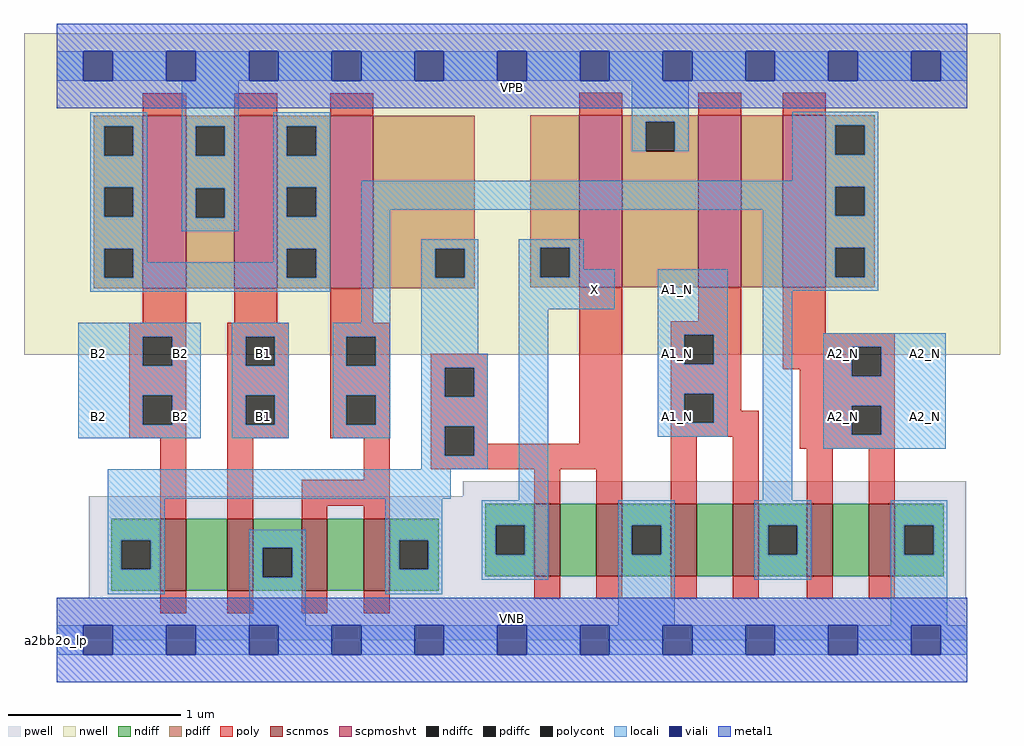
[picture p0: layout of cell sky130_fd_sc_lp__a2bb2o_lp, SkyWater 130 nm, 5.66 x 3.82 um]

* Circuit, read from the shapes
.subckt sky130_fd_sc_lp__a2bb2o_lp A1_N A2_N B1 B2 VGND VNB VPB VPWR X
XM1 n1 B2 n2 VNB sky130_fd_pr__nfet_01v8 w=0.42 l=0.15
XM2 VGND B1 n1 VNB sky130_fd_pr__nfet_01v8 w=0.42 l=0.15
XM3 n3 n4 VGND VNB sky130_fd_pr__nfet_01v8 w=0.42 l=0.15
XM4 n2 n4 n3 VNB sky130_fd_pr__nfet_01v8 w=0.42 l=0.15
XM5 n5 n2 X VNB sky130_fd_pr__nfet_01v8 w=0.42 l=0.15
XM6 VGND n2 n5 VNB sky130_fd_pr__nfet_01v8 w=0.42 l=0.15
XM7 n6 A1_N VGND VNB sky130_fd_pr__nfet_01v8 w=0.42 l=0.15
XM8 n4 A1_N n6 VNB sky130_fd_pr__nfet_01v8 w=0.42 l=0.15
XM9 n7 A2_N n4 VNB sky130_fd_pr__nfet_01v8 w=0.42 l=0.15
XM10 VGND A2_N n7 VNB sky130_fd_pr__nfet_01v8 w=0.42 l=0.15
XM11 VPWR B2 n8 VPB sky130_fd_pr__pfet_01v8_hvt w=1 l=0.25
XM12 n8 B1 VPWR VPB sky130_fd_pr__pfet_01v8_hvt w=1 l=0.25
XM13 n2 n4 n8 VPB sky130_fd_pr__pfet_01v8_hvt w=1 l=0.25
XM14 VPWR n2 X VPB sky130_fd_pr__pfet_01v8_hvt w=1 l=0.25
XM15 n9 A1_N VPWR VPB sky130_fd_pr__pfet_01v8_hvt w=1 l=0.25
XM16 n4 A2_N n9 VPB sky130_fd_pr__pfet_01v8_hvt w=1 l=0.25
.ends

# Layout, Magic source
magic
tech sky130A
magscale 1 2
<< nwell >>
rect -38 331 1094 704
<< pwell >>
rect 471 167 1055 184
rect 37 49 1055 167
rect 0 0 1056 49
<< scnmos >>
rect 120 57 150 141
rect 198 57 228 141
rect 284 57 314 141
rect 356 57 386 141
rect 554 74 584 158
rect 626 74 656 158
rect 712 74 742 158
rect 784 74 814 158
rect 870 74 900 158
rect 942 74 972 158
<< scpmoshvt >>
rect 100 408 150 608
rect 206 408 256 608
rect 317 408 367 608
rect 606 409 656 609
rect 744 409 794 609
rect 842 409 892 609
<< ndiff >>
rect 63 116 120 141
rect 63 82 75 116
rect 109 82 120 116
rect 63 57 120 82
rect 150 57 198 141
rect 228 107 284 141
rect 228 73 239 107
rect 273 73 284 107
rect 228 57 284 73
rect 314 57 356 141
rect 386 116 443 141
rect 386 82 397 116
rect 431 82 443 116
rect 386 57 443 82
rect 497 133 554 158
rect 497 99 509 133
rect 543 99 554 133
rect 497 74 554 99
rect 584 74 626 158
rect 656 133 712 158
rect 656 99 667 133
rect 701 99 712 133
rect 656 74 712 99
rect 742 74 784 158
rect 814 133 870 158
rect 814 99 825 133
rect 859 99 870 133
rect 814 74 870 99
rect 900 74 942 158
rect 972 133 1029 158
rect 972 99 983 133
rect 1017 99 1029 133
rect 972 74 1029 99
<< pdiff >>
rect 43 596 100 608
rect 43 562 55 596
rect 89 562 100 596
rect 43 525 100 562
rect 43 491 55 525
rect 89 491 100 525
rect 43 454 100 491
rect 43 420 55 454
rect 89 420 100 454
rect 43 408 100 420
rect 150 596 206 608
rect 150 562 161 596
rect 195 562 206 596
rect 150 524 206 562
rect 150 490 161 524
rect 195 490 206 524
rect 150 408 206 490
rect 256 596 317 608
rect 256 562 267 596
rect 301 562 317 596
rect 256 525 317 562
rect 256 491 267 525
rect 301 491 317 525
rect 256 454 317 491
rect 256 420 267 454
rect 301 420 317 454
rect 256 408 317 420
rect 367 454 485 608
rect 367 420 439 454
rect 473 420 485 454
rect 367 408 485 420
rect 549 455 606 609
rect 549 421 561 455
rect 595 421 606 455
rect 549 409 606 421
rect 656 601 744 609
rect 656 567 683 601
rect 717 567 744 601
rect 656 409 744 567
rect 794 409 842 609
rect 892 597 949 609
rect 892 563 903 597
rect 937 563 949 597
rect 892 526 949 563
rect 892 492 903 526
rect 937 492 949 526
rect 892 455 949 492
rect 892 421 903 455
rect 937 421 949 455
rect 892 409 949 421
<< ndiffc >>
rect 75 82 109 116
rect 239 73 273 107
rect 397 82 431 116
rect 509 99 543 133
rect 667 99 701 133
rect 825 99 859 133
rect 983 99 1017 133
<< pdiffc >>
rect 55 562 89 596
rect 55 491 89 525
rect 55 420 89 454
rect 161 562 195 596
rect 161 490 195 524
rect 267 562 301 596
rect 267 491 301 525
rect 267 420 301 454
rect 439 420 473 454
rect 561 421 595 455
rect 683 567 717 601
rect 903 563 937 597
rect 903 492 937 526
rect 903 421 937 455
<< poly >>
rect 100 608 150 634
rect 206 608 256 634
rect 317 608 367 634
rect 606 609 656 635
rect 744 609 794 635
rect 842 609 892 635
rect 100 368 150 408
rect 206 368 256 408
rect 317 368 367 408
rect 84 352 150 368
rect 84 318 100 352
rect 134 318 150 352
rect 84 284 150 318
rect 84 250 100 284
rect 134 250 150 284
rect 84 234 150 250
rect 120 141 150 234
rect 198 352 269 368
rect 198 318 219 352
rect 253 318 269 352
rect 198 284 269 318
rect 198 250 219 284
rect 253 250 269 284
rect 198 234 269 250
rect 317 352 386 368
rect 317 318 336 352
rect 370 318 386 352
rect 317 284 386 318
rect 317 250 336 284
rect 370 250 386 284
rect 317 234 386 250
rect 198 141 228 234
rect 356 186 386 234
rect 434 316 500 332
rect 434 282 450 316
rect 484 282 500 316
rect 434 248 500 282
rect 434 214 450 248
rect 484 228 500 248
rect 606 228 656 409
rect 744 370 794 409
rect 484 214 656 228
rect 434 198 656 214
rect 284 156 386 186
rect 554 158 584 198
rect 626 158 656 198
rect 712 354 794 370
rect 712 320 728 354
rect 762 320 794 354
rect 712 286 794 320
rect 842 356 892 409
rect 842 340 972 356
rect 842 314 922 340
rect 712 252 728 286
rect 762 266 794 286
rect 862 306 922 314
rect 956 306 972 340
rect 862 272 972 306
rect 762 252 814 266
rect 712 236 814 252
rect 712 158 742 236
rect 784 158 814 236
rect 862 238 922 272
rect 956 238 972 272
rect 862 222 972 238
rect 870 158 900 222
rect 942 158 972 222
rect 284 141 314 156
rect 356 141 386 156
rect 120 31 150 57
rect 198 31 228 57
rect 284 31 314 57
rect 356 31 386 57
rect 554 48 584 74
rect 626 48 656 74
rect 712 48 742 74
rect 784 48 814 74
rect 870 48 900 74
rect 942 48 972 74
<< polycont >>
rect 100 318 134 352
rect 100 250 134 284
rect 219 318 253 352
rect 219 250 253 284
rect 336 318 370 352
rect 336 250 370 284
rect 450 282 484 316
rect 450 214 484 248
rect 728 320 762 354
rect 728 252 762 286
rect 922 306 956 340
rect 922 238 956 272
<< locali >>
rect 0 649 31 683
rect 65 649 127 683
rect 161 649 223 683
rect 257 649 319 683
rect 353 649 415 683
rect 449 649 511 683
rect 545 649 607 683
rect 641 649 703 683
rect 737 649 799 683
rect 833 649 895 683
rect 929 649 991 683
rect 1025 649 1056 683
rect 39 596 105 612
rect 39 562 55 596
rect 89 562 105 596
rect 39 525 105 562
rect 39 491 55 525
rect 89 491 105 525
rect 39 454 105 491
rect 145 596 211 649
rect 145 562 161 596
rect 195 562 211 596
rect 145 524 211 562
rect 145 490 161 524
rect 195 490 211 524
rect 145 474 211 490
rect 251 596 317 612
rect 251 562 267 596
rect 301 562 317 596
rect 667 601 733 649
rect 667 567 683 601
rect 717 567 733 601
rect 853 597 953 613
rect 251 525 317 562
rect 853 563 903 597
rect 937 563 953 597
rect 853 533 953 563
rect 251 491 267 525
rect 301 491 317 525
rect 39 420 55 454
rect 89 438 105 454
rect 251 454 317 491
rect 251 438 267 454
rect 89 420 267 438
rect 301 420 317 454
rect 39 404 317 420
rect 353 526 953 533
rect 353 499 903 526
rect 353 368 387 499
rect 819 492 903 499
rect 937 492 953 526
rect 25 352 167 368
rect 25 318 100 352
rect 134 318 167 352
rect 25 284 167 318
rect 25 250 100 284
rect 134 250 167 284
rect 25 234 167 250
rect 203 352 269 368
rect 203 318 219 352
rect 253 318 269 352
rect 203 284 269 318
rect 203 250 219 284
rect 253 250 269 284
rect 203 234 269 250
rect 320 352 387 368
rect 320 318 336 352
rect 370 318 387 352
rect 320 284 387 318
rect 320 250 336 284
rect 370 250 387 284
rect 320 234 387 250
rect 423 454 489 465
rect 423 420 439 454
rect 473 420 489 454
rect 423 332 489 420
rect 536 455 611 465
rect 536 421 561 455
rect 595 430 611 455
rect 819 455 953 492
rect 595 421 647 430
rect 536 384 647 421
rect 423 316 500 332
rect 423 282 450 316
rect 484 282 500 316
rect 423 248 500 282
rect 423 214 450 248
rect 484 214 500 248
rect 423 198 500 214
rect 59 164 457 198
rect 59 116 125 164
rect 59 82 75 116
rect 109 82 125 116
rect 59 53 125 82
rect 223 107 289 128
rect 223 73 239 107
rect 273 73 289 107
rect 223 17 289 73
rect 381 116 447 164
rect 536 162 570 384
rect 697 354 778 430
rect 697 320 728 354
rect 762 320 778 354
rect 697 286 778 320
rect 697 252 728 286
rect 762 252 778 286
rect 697 236 778 252
rect 819 421 903 455
rect 937 421 953 455
rect 819 405 953 421
rect 819 162 853 405
rect 889 340 1031 356
rect 889 306 922 340
rect 956 306 1031 340
rect 889 272 1031 306
rect 889 238 922 272
rect 956 238 1031 272
rect 889 222 1031 238
rect 381 82 397 116
rect 431 82 447 116
rect 381 53 447 82
rect 493 133 570 162
rect 493 99 509 133
rect 543 99 570 133
rect 493 70 570 99
rect 651 133 717 162
rect 651 99 667 133
rect 701 99 717 133
rect 651 17 717 99
rect 809 133 875 162
rect 809 99 825 133
rect 859 99 875 133
rect 809 70 875 99
rect 967 133 1033 162
rect 967 99 983 133
rect 1017 99 1033 133
rect 967 17 1033 99
rect 0 -17 31 17
rect 65 -17 127 17
rect 161 -17 223 17
rect 257 -17 319 17
rect 353 -17 415 17
rect 449 -17 511 17
rect 545 -17 607 17
rect 641 -17 703 17
rect 737 -17 799 17
rect 833 -17 895 17
rect 929 -17 991 17
rect 1025 -17 1056 17
<< viali >>
rect 31 649 65 683
rect 127 649 161 683
rect 223 649 257 683
rect 319 649 353 683
rect 415 649 449 683
rect 511 649 545 683
rect 607 649 641 683
rect 703 649 737 683
rect 799 649 833 683
rect 895 649 929 683
rect 991 649 1025 683
rect 31 -17 65 17
rect 127 -17 161 17
rect 223 -17 257 17
rect 319 -17 353 17
rect 415 -17 449 17
rect 511 -17 545 17
rect 607 -17 641 17
rect 703 -17 737 17
rect 799 -17 833 17
rect 895 -17 929 17
rect 991 -17 1025 17
<< metal1 >>
rect 0 683 1056 715
rect 0 649 31 683
rect 65 649 127 683
rect 161 649 223 683
rect 257 649 319 683
rect 353 649 415 683
rect 449 649 511 683
rect 545 649 607 683
rect 641 649 703 683
rect 737 649 799 683
rect 833 649 895 683
rect 929 649 991 683
rect 1025 649 1056 683
rect 0 617 1056 649
rect 0 17 1056 49
rect 0 -17 31 17
rect 65 -17 127 17
rect 161 -17 223 17
rect 257 -17 319 17
rect 353 -17 415 17
rect 449 -17 511 17
rect 545 -17 607 17
rect 641 -17 703 17
rect 737 -17 799 17
rect 833 -17 895 17
rect 929 -17 991 17
rect 1025 -17 1056 17
rect 0 -49 1056 -17
<< labels >>
flabel pwell s 0 0 1056 49 0 FreeSans 200 0 0 0 VNB
port 6 nsew ground bidirectional
flabel nwell s 0 617 1056 666 0 FreeSans 200 0 0 0 VPB
port 7 nsew power bidirectional
rlabel comment s 0 0 0 0 4 a2bb2o_lp
flabel metal1 s 0 617 1056 666 0 FreeSans 340 0 0 0 VPWR
port 8 nsew power bidirectional
flabel metal1 s 0 0 1056 49 0 FreeSans 340 0 0 0 VGND
port 5 nsew ground bidirectional
flabel locali s 703 242 737 276 0 FreeSans 340 0 0 0 A1_N
port 1 nsew signal input
flabel locali s 703 316 737 350 0 FreeSans 340 0 0 0 A1_N
port 1 nsew signal input
flabel locali s 703 390 737 424 0 FreeSans 340 0 0 0 A1_N
port 1 nsew signal input
flabel locali s 895 242 929 276 0 FreeSans 340 0 0 0 A2_N
port 2 nsew signal input
flabel locali s 895 316 929 350 0 FreeSans 340 0 0 0 A2_N
port 2 nsew signal input
flabel locali s 991 242 1025 276 0 FreeSans 340 0 0 0 A2_N
port 2 nsew signal input
flabel locali s 991 316 1025 350 0 FreeSans 340 0 0 0 A2_N
port 2 nsew signal input
flabel locali s 223 242 257 276 0 FreeSans 340 0 0 0 B1
port 3 nsew signal input
flabel locali s 223 316 257 350 0 FreeSans 340 0 0 0 B1
port 3 nsew signal input
flabel locali s 31 242 65 276 0 FreeSans 340 0 0 0 B2
port 4 nsew signal input
flabel locali s 31 316 65 350 0 FreeSans 340 0 0 0 B2
port 4 nsew signal input
flabel locali s 127 242 161 276 0 FreeSans 340 0 0 0 B2
port 4 nsew signal input
flabel locali s 127 316 161 350 0 FreeSans 340 0 0 0 B2
port 4 nsew signal input
flabel locali s 607 390 641 424 0 FreeSans 340 0 0 0 X
port 9 nsew signal output
<< properties >>
string LEFsite unit
string LEFclass CORE
string FIXED_BBOX 0 0 1056 666
string GDS_FILE $PDKPATH/libs.ref/sky130_fd_sc_lp/gds/sky130_fd_sc_lp.gds
string LEFsymmetry X Y R90
string GDS_END 5869690
string GDS_START 5860744
<< end >>
